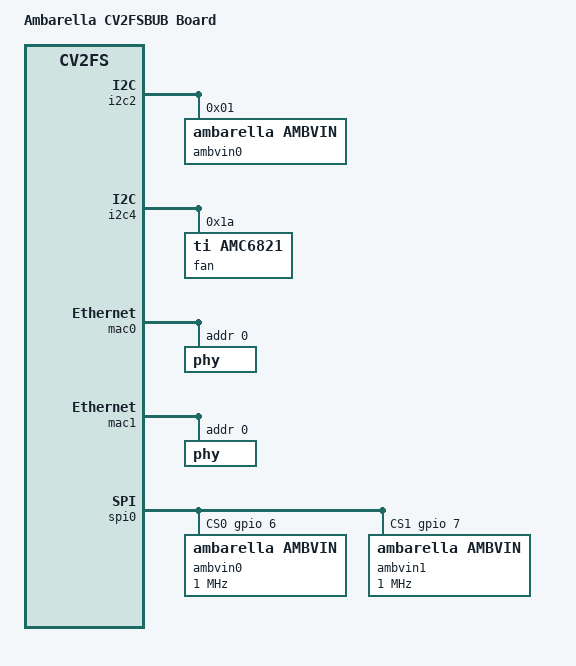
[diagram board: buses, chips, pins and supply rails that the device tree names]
/*
 * Copyright (C) 2013 Ambarella,Inc. - http://www.ambarella.com/
 * Author: Cao Rongrong <rrcao@ambarella.com>
 *
 * This program is free software; you can redistribute it and/or modify
 * it under the terms of the GNU General Public License version 2 as
 * published by the Free Software Foundation.
 */
/dts-v1/;

/include/ "ambarella-cv2fs.dtsi"
#include "partition/partition.dtsi"
#include "config.h"
#include "bsp.h"

/ {
	model = "Ambarella CV2FSBUB Board";
	compatible = "ambarella,cv2fsbub", "ambarella,cv2fs";

	chosen {
		bootargs = "console=ttyS0 ubi.mtd=lnx root=ubi0:rootfs rw rootfstype=ubifs init=/linuxrc";
	};

	apb@e4000000 {
		i2c2: i2c@e400a000 {
			status = "ok";

			ambvin0@01 {
				compatible = "ambarella,ambvin";
				reg = <0x01>;	/* fake address, will be overwritten in runtime */
			};
		};

		i2c4: i2c@e4019000 {
			status = "ok";

			fan: amc6821@1a {
				compatible = "ti,amc6821";
				#cooling-cells = <2>;
				reg = <0x1a>;
			};
		};
	};

	ahb@e0000000 {
		sdmmc0: sdmmc0@e0004000 {
			pwr-gpios = <&gpio 35 0x1>;
			v18-gpios = <&gpio 102 0x1>;
#if defined(CONFIG_BOOT_MEDIA_EMMC)
			amb,fixed-cd = <1>;
#endif
		};

		sdmmc1: sdmmc1@e0005000 {
			pwr-gpios = <&gpio 56 0x1>;
			v18-gpios = <&gpio 0 0x1>;
		};

		mac0: ethernet@e000e000 {
			amb,tx-clk-invert;

			phy@0 {
				reg = <0>;
			};
		};

		mac1: ethernet@e0032000 {
			amb,tx-clk-invert;

			phy@0 {
				reg = <0>;
			};
		};

		spi0: spi@e0011000 {
			status = "ok";
			cs-gpios = <&gpio 6 0>, <&gpio 7 0>;

			ambvin0@0 {
				compatible = "ambarella,ambvin";
				reg = <0>;
				spi-max-frequency = <1000000>;
				spi-cpha;
				spi-cpol;
			};

			ambvin1@0 {
				compatible = "ambarella,ambvin";
				reg = <1>;
				spi-max-frequency = <1000000>;
				spi-cpha;
				spi-cpol;
			};
		};
	};

	rct@ed080000 {
		usbphy: usbphy@ed080050 {
			/* high will trigger the ocp interrupt */
			amb,ocp-polarity = <0>;
			pinctrl-names = "default";
			pinctrl-0 = <&usb_host0_pins_a>;
		};
	};

	iav {
		/* node for vin controller */
		vinc0 {
			vinrst-gpios = <&gpio 87 0>;
			/* vinpwr-gpios = <>; */
		};
	};
};
